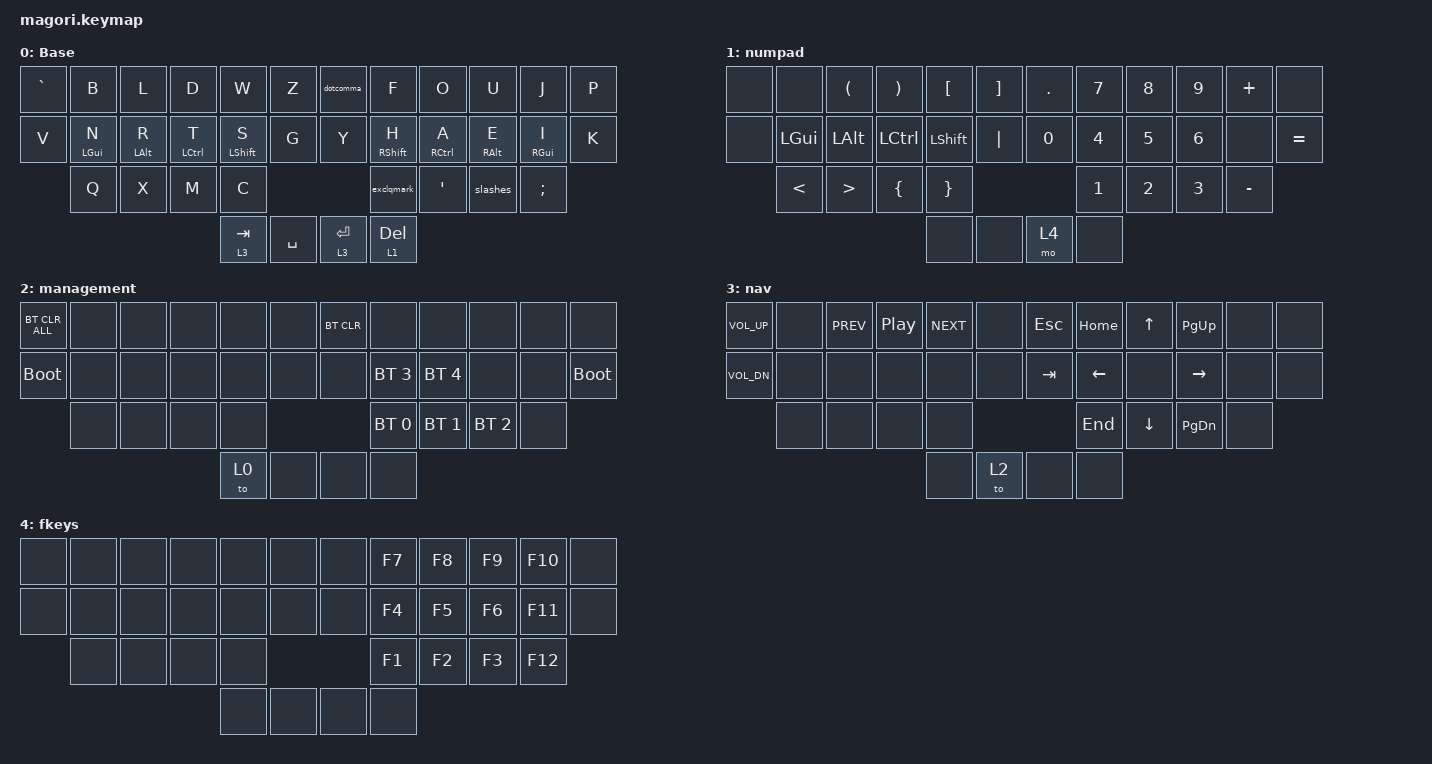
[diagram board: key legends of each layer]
#include <behaviors.dtsi>
#include <dt-bindings/zmk/keys.h>
#include <dt-bindings/zmk/bt.h>

/ {
    combos {
        compatible = "zmk,combos";
        combo_backspace {
            timeout-ms = <50>;
            key-positions = <10 11>;
            bindings = <&kp BSPC>;
        };
        combo_esc {
            timeout-ms = <50>;
            key-positions = <0 1>;
            bindings = <&kp ESC>;
        };
        combo_special_space {
            timeout-ms = <50>;
            key-positions = <34 35>;
            bindings = <&kp SPACE>;
        };
    };
    behaviors {
        dotcomma: dot_comma {
            compatible = "zmk,behavior-mod-morph";
            #binding-cells = <0>;
            bindings = <&kp DOT>, <&kp COMMA>;
            mods = <(MOD_LSFT|MOD_RSFT)>;
        };
        slashes: slashes_ {
            compatible = "zmk,behavior-mod-morph";
            #binding-cells = <0>;
            bindings = <&kp FSLH>, <&kp BSLH>;
            mods = <(MOD_LSFT|MOD_RSFT)>;
        };
        exclqmark: excl_qmark {
            compatible = "zmk,behavior-mod-morph";
            #binding-cells = <0>;
            bindings = <&kp EXCL>, <&kp QMARK>;
            mods = <(MOD_LSFT|MOD_RSFT)>;
        };
    };
};
/ {
    keymap {
        compatible = "zmk,keymap";

        default_layer { // Layer 0
            display-name = "Base";
            bindings = <
            // --------------------------------------------------- GRAPHITE MOD ----- HOMEROW MODS -----------------------------------
            //╭──────────┬──────────┬──────────┬──────────┬──────────┬──────────╮   ╭──────────┬──────────┬──────────┬──────────┬──────────┬──────────╮
            //|   ` ~    |    B     |    L     |     D    |    W     |    Z     |   |   . ,    |    F     |    O     |    U     |    J     |    P     |
               &kp GRAVE   &kp B      &kp L       &kp D     &kp W      &kp Z         &dotcomma   &kp F      &kp O      &kp U      &kp J      &kp P
            //├──────────┼──────────┼──────────┼──────────┼──────────┼──────────┤   ├──────────┼──────────┼──────────┼──────────┼──────────┼──────────┤
            //|    V     |    N     |    R     |    T     |    S     |    G     |   |    Y     |    H     |    A     |     E    |    I     |    K     |
                &kp V  &mt LGUI N &mt LALT R &mt LCTRL T &mt LSHIFT S  &kp G          &kp Y    &mt RSHIFT H &mt RCTRL A &mt RALT E &mt RGUI I &kp K 
            //           |──────────┼──────────┼──────────┼──────────|                         |──────────┼──────────┼──────────┼──────────|
            //           |    Q     |    X     |    M     |    C     |                         |   ! ?    |   ' "    |   / \    |    ; :   |
                            &kp Q     &kp X      &kp M      &kp C                               &exclqmark  &kp SQT    &slashes   &kp SEMI     
            //                                            ╭──────────┬──────────╮   ╭──────────┬──────────╮
            //                                            |MEDIA/TAB |  SPACE   |   | NAV/RET  | NUM/DEL  |
                                                           &lt 3 TAB  &kp SPACE     &lt 3 ENTER  &lt 1 DEL
            >;
        };
        num { // Layer 1
            display-name = "numpad";
            bindings = <
            // ---------------------------------------------------------------- NUMPAD -------------------------------------------------
            //╭──────────┬──────────┬──────────┬──────────┬──────────┬──────────╮   ╭──────────┬──────────┬──────────┬──────────┬──────────┬──────────╮
            //|          |          |    (     |    )     |    [     |    ]     |   |          |    7     |    8     |    9     |    +     |          |
                 &none     &none      &kp LPAR   &kp RPAR   &kp LBKT   &kp RBKT       &kp DOT    &kp N7     &kp N8     &kp N9     &kp PLUS      &none
            //├──────────┼──────────┼──────────┼──────────┼──────────┼──────────┤   ├──────────┼──────────┼──────────┼──────────┼──────────┼──────────┤
            //|          |          |          |          |          |    |     |   |    0     |    4     |    5     |    6     |          |    =     |
                 &none     &kp LGUI   &kp LALT   &kp LCTRL  &kp LSHIFT &kp PIPE       &kp N0     &kp N4     &kp N5     &kp N6     &none     &kp EQUAL
            //           |──────────┼──────────┼──────────┼──────────|                         |──────────┼──────────┼──────────┼──────────|
            //           |    <     |    >     |    {     |    }     |                         |    1     |     2    |    3     |    -     |
                            &kp LT    &kp GT     &kp LBRC    &kp RBRC                            &kp N1      &kp N2    &kp N3    &kp MINUS
            //                                            ╭──────────┬──────────╮   ╭──────────┬──────────╮
            //                                            |          |          |   |   fkeys  |          |
                                                             &none     &none           &mo 4      &none
            >;
        };
        mgmt { // Layer 2
            display-name = "management";
            bindings = <
            // ---------------------------------------------------------- --- MANAGEMENT -------------------------------------------------
            //╭──────────┬──────────┬──────────┬──────────┬──────────┬──────────╮   ╭──────────┬──────────┬──────────┬──────────┬──────────┬──────────╮
            //|          |          |          |          |          |          |   | bt_clear |          |          |          |          |          |
             &bt BT_CLR_ALL &none     &none      &none      &none      &none         &bt BT_CLR   &none     &none      &none      &none      &none
            //├──────────┼──────────┼──────────┼──────────┼──────────┼──────────┤   ├──────────┼──────────┼──────────┼──────────┼──────────┼──────────┤
            //|bootloader|          |          |          |          |          |   |          |  BT 4    | BT 5     |     6    |          |bootloader|
              &bootloader  &none      &none      &none      &none      &none          &none   &bt BT_SEL 3 &bt BT_SEL 4 &none     &none     &bootloader
            //           |──────────┼──────────┼──────────┼──────────|                         |──────────┼──────────┼──────────┼──────────|
            //           |          |          |          |          |                         |  BT 1    | BT 2     | BT 3     |          |
                            &none     &none      &none      &none                            &bt BT_SEL 0 &bt BT_SEL 1 &bt BT_SEL 2 &none
            //                                            ╭──────────┬──────────╮   ╭──────────┬──────────╮
            //                                            |   base   |          |   |          |          |
                                                              &to 0    &none          &none      &none
            >;
        };
        nav { // Layer 3
            display-name = "nav";
            bindings = <
            // ----------------------------------------------------------- MEDIA --- NAVIGATION -------------------------------------------------
            //╭──────────┬──────────┬──────────┬──────────┬──────────┬──────────╮   ╭──────────┬──────────┬──────────┬──────────┬──────────┬──────────╮
            //|          |          |          |          |          |          |   |   ESC    |   HOME   |    UP    |   PGUP   |          |          |
              &kp C_VOL_UP &none     &kp C_PREV  &kp C_PP  &kp C_NEXT   &none         &kp ESC    &kp HOME   &kp UP     &kp PG_UP   &none      &none
            //├──────────┼──────────┼──────────┼──────────┼──────────┼──────────┤   ├──────────┼──────────┼──────────┼──────────┼──────────┼──────────┤
            //|          |          |          |          |          |          |   |   TAB    |   LEFT   |          |  RIGHT   |          |          |
              &kp C_VOL_DN &none      &none      &none      &none      &none          &kp TAB    &kp LEFT    &none     &kp RIGHT   &none      &none
            //           |──────────┼──────────┼──────────┼──────────|                         |──────────┼──────────┼──────────┼──────────|
            //           |          |          |          |          |                         |   END    |   DOWN   |   PGDN   |          |
                            &none     &none      &none      &none                                &kp END    &kp DOWN   &kp PG_DN   &none
            //                                            ╭──────────┬──────────╮   ╭──────────┬──────────╮
            //                                            |          |   mgmt   |   |          |          |
                                                            &none      &to 2          &none      &none
            >;
        };
        fkeys { // Layer 4
            display-name = "fkeys";
            bindings = <
            // ---------------------------------------------------------------- FKEYS -------------------------------------------------------
            //╭──────────┬──────────┬──────────┬──────────┬──────────┬──────────╮   ╭──────────┬──────────┬──────────┬──────────┬──────────┬──────────╮
            //|          |          |          |          |          |          |   |          |    F7    |    F8    |    F9    |   F10    |          |
                 &none      &none      &none      &none      &none      &none          &none      &kp F7     &kp F8     &kp F9    &kp F10     &none
            //├──────────┼──────────┼──────────┼──────────┼──────────┼──────────┤   ├──────────┼──────────┼──────────┼──────────┼──────────┼──────────┤
            //|          |          |          |          |          |          |   |          |    F4    |    F5    |    F6    |   F11    |          |
                 &none      &none      &none      &none      &none      &none          &none      &kp F4     &kp F5     &kp F6    &kp F11     &none
            //           |──────────┼──────────┼──────────┼──────────|                         |──────────┼──────────┼──────────┼──────────|
            //           |          |          |          |          |                         |    F1    |    F2    |    F3    |   F12    |
                            &none     &none      &none       &none                                &kp F1     &kp F2     &kp F3    &kp F12
            //                                            ╭──────────┬──────────╮   ╭──────────┬──────────╮
            //                                            |          |          |   |          |          |
                                                             &none      &none          &none      &none
            >;
        };
    };
 };
